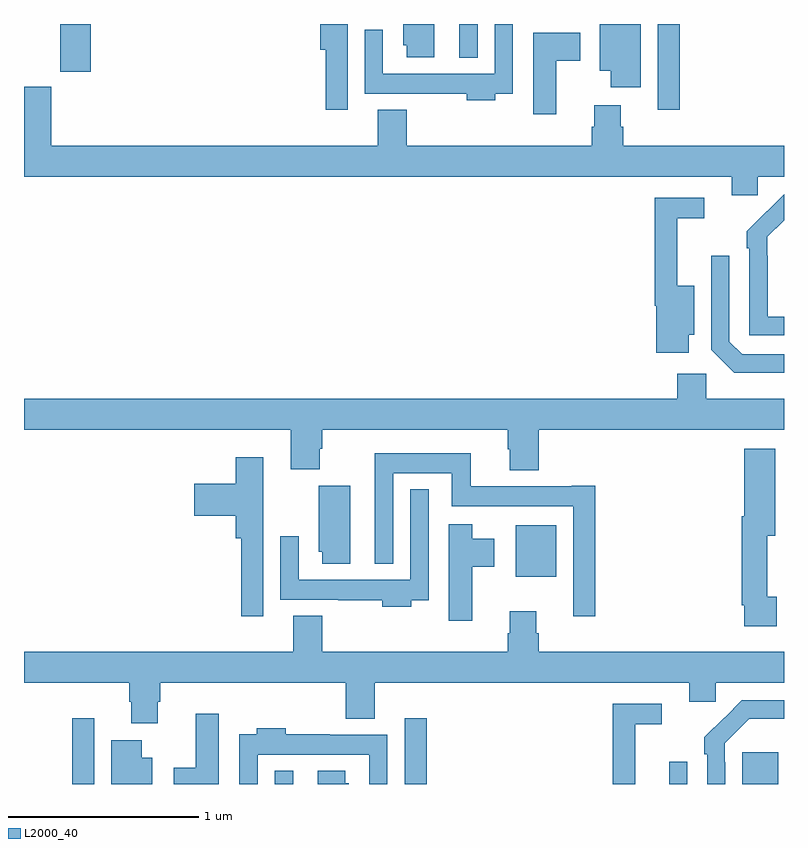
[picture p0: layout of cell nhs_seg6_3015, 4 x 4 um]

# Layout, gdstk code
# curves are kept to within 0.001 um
import gdstk
lib = gdstk.Library(unit=1e-6, precision=1e-09)
def R(c, l, rs):  # rectangles x0, y0, x1, y1
    for r in rs: c.add(gdstk.rectangle(r[:2], r[2:], *l))
def P(c, l, *ps):  # polygons
    for p in ps: c.add(gdstk.Polygon(p, *l))
L2000_40 = (2000, 40)

nhs_seg6_3015 = lib.new_cell('nhs_seg6_3015')
R(nhs_seg6_3015, L2000_40, [(289.255,917.5,289.371,917.845), (290.319,917.5,290.416,917.569), (291.003,917.5,291.119,917.845), (292.395,917.5,292.491,917.617), (292.781,917.5,292.969,917.668), (291.587,918.59,291.802,918.862), (292.335,921.048,292.451,921.5), (289.192,921.249,289.352,921.5), (291.29,921.323,291.387,921.5)])
P(nhs_seg6_3015, L2000_40, [(291.16,921.5),(290.996,921.5),(290.996,921.387),(291.014,921.387),(291.014,921.324),(291.16,921.324)],
  [(290.703,921.469),(290.704,921.469),(290.704,921.5),(290.558,921.5),(290.558,921.365),(290.587,921.365),(290.587,921.048),(290.703,921.048)],
  [(292.246,921.5),(292.031,921.5),(292.031,921.254),(292.088,921.254),(292.088,921.168),(292.246,921.168)],
  [(291.481,921.132),(291.573,921.132),(291.573,921.5),(291.477,921.5),(291.477,921.238),(290.889,921.238),(290.889,921.469),(290.793,921.469),(290.793,921.134),(291.097,921.134),(291.097,921.132),(291.329,921.132),(291.329,921.098),(291.481,921.098)],
  [(291.802,921.307),(291.928,921.307),(291.928,921.454),(291.68,921.454),(291.68,921.024),(291.802,921.024)],
  [(292.863,920.696),(293,920.696),(293,920.86),(292.154,920.86),(292.154,920.958),(292.141,920.958),(292.141,921.073),(292.001,921.073),(292.001,920.958),(291.989,920.958),(291.989,920.86),(291.014,920.86),(291.014,921.049),(290.861,921.049),(290.861,920.86),(289.144,920.86),(289.144,921.169),(289,921.169),(289,920.696),(292.724,920.696),(292.724,920.598),(292.863,920.598)],
  [(293,919.959),(292.914,919.959),(292.914,920.279),(292.911,920.279),(292.911,920.379),(293,920.468),(293,920.604),(292.803,920.409),(292.803,920.321),(292.818,920.321),(292.818,919.863),(293,919.863)],
  [(292.498,919.865),(292.528,919.865),(292.528,920.122),(292.439,920.122),(292.439,920.478),(292.579,920.478),(292.579,920.586),(292.321,920.586),(292.321,920.018),(292.328,920.018),(292.328,919.77),(292.498,919.77)],
  [(293,919.761),(292.779,919.761),(292.713,919.827),(292.713,920.281),(292.617,920.281),(292.617,919.785),(292.738,919.664),(293,919.664)],
  [(291.71,919.364),(293,919.364),(293,919.528),(292.59,919.528),(292.59,919.66),(292.439,919.66),(292.439,919.528),(289,919.528),(289,919.364),(290.405,919.364),(290.405,919.156),(290.557,919.156),(290.557,919.265),(290.57,919.265),(290.57,919.364),(291.545,919.364),(291.545,919.263),(291.557,919.263),(291.557,919.151),(291.71,919.151)],
  [(292.963,918.486),(292.912,918.486),(292.912,918.806),(292.954,918.806),(292.954,919.264),(292.79,919.264),(292.79,918.91),(292.778,918.91),(292.778,918.442),(292.79,918.442),(292.79,918.33),(292.963,918.33)],
  [(292.007,919.069),(291.884,919.069),(291.884,919.066),(291.35,919.066),(291.35,919.24),(290.846,919.24),(290.846,918.659),(290.943,918.659),(290.943,919.136),(291.252,919.136),(291.252,918.962),(291.891,918.962),(291.891,918.384),(292.007,918.384)],
  [(290.259,918.927),(290.26,918.927),(290.26,919.219),(290.114,919.219),(290.114,919.081),(289.896,919.081),(289.896,918.911),(290.114,918.911),(290.114,918.794),(290.143,918.794),(290.143,918.384),(290.259,918.384)],
  [(290.716,919.071),(290.552,919.071),(290.552,918.723),(290.57,918.723),(290.57,918.66),(290.716,918.66)],
  [(291.037,918.468),(291.129,918.468),(291.129,919.051),(291.033,919.051),(291.033,918.574),(290.445,918.574),(290.445,918.805),(290.349,918.805),(290.349,918.47),(290.653,918.47),(290.653,918.468),(290.885,918.468),(290.885,918.434),(291.037,918.434)],
  [(291.358,918.643),(291.475,918.643),(291.475,918.79),(291.358,918.79),(291.358,918.868),(291.236,918.868),(291.236,918.36),(291.358,918.36)],
  [(289.705,917.934),(289.718,917.934),(289.718,918.032),(290.693,918.032),(290.693,917.843),(290.845,917.843),(290.845,918.032),(292.502,918.032),(292.502,917.934),(292.641,917.934),(292.641,918.032),(293,918.032),(293,918.196),(291.71,918.196),(291.71,918.294),(291.697,918.294),(291.697,918.409),(291.557,918.409),(291.557,918.294),(291.545,918.294),(291.545,918.196),(290.57,918.196),(290.57,918.385),(290.417,918.385),(290.417,918.196),(289,918.196),(289,918.032),(289.553,918.032),(289.553,917.934),(289.565,917.934),(289.565,917.82),(289.705,917.82)],
  [(292.692,917.615),(292.689,917.615),(292.689,917.715),(292.818,917.844),(293,917.844),(293,917.94),(292.778,917.94),(292.581,917.745),(292.581,917.657),(292.596,917.657),(292.596,917.5),(292.692,917.5)],
  [(292.217,917.814),(292.357,917.814),(292.357,917.922),(292.099,917.922),(292.099,917.5),(292.217,917.5)],
  [(290.026,917.869),(289.904,917.869),(289.904,917.586),(289.787,917.586),(289.787,917.5),(290.026,917.5)],
  [(290.229,917.654),(290.817,917.654),(290.817,917.5),(290.913,917.5),(290.913,917.758),(290.609,917.758),(290.609,917.761),(290.378,917.761),(290.378,917.794),(290.225,917.794),(290.225,917.761),(290.133,917.761),(290.133,917.5),(290.229,917.5)],
  [(289.675,917.638),(289.621,917.638),(289.621,917.731),(289.46,917.731),(289.46,917.5),(289.675,917.5)],
  [(290.71,917.505),(290.692,917.505),(290.692,917.569),(290.546,917.569),(290.546,917.5),(290.71,917.5)])

lib.write_gds('nhs_seg6_3015.gds')
